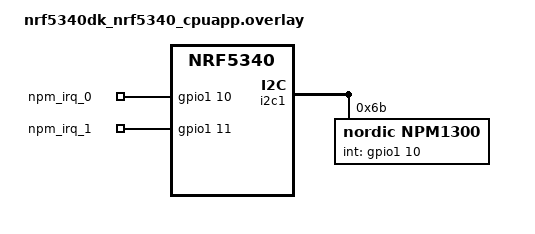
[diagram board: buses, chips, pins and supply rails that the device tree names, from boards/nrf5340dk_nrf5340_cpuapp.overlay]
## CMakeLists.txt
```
# SPDX-License-Identifier: Apache-2.0

cmake_minimum_required(VERSION 3.20.0)
find_package(Zephyr REQUIRED HINTS $ENV{ZEPHYR_BASE})
project(npm1300)

FILE(GLOB app_sources src/*.c)
target_sources(app PRIVATE ${app_sources})
```

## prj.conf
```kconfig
CONFIG_STDOUT_CONSOLE=y
CONFIG_PRINTK=y

CONFIG_I2C=y
CONFIG_GPIO=y 
CONFIG_NPMX_ENABLE=y
CONFIG_NPMX_DEVICE_NPM1300_FP1=y
CONFIG_LOG=y
CONFIG_NPMX_LOG_LEVEL_DBG=y
CONFIG_SHELL=y
CONFIG_ASSERT=y
```

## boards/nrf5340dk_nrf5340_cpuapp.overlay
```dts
/{
    /* Node with pin configuration for default state */
    buttons {
        compatible = "gpio-keys";
        npm_irq0: npm_irq_0 {
            gpios = <&gpio1 10 (GPIO_PULL_DOWN | GPIO_ACTIVE_HIGH)>;
            label = "npm_irq_0";
        };

        npm_irq1: npm_irq_1 {
            gpios = <&gpio1 11 (GPIO_PULL_DOWN | GPIO_ACTIVE_HIGH)>;
            label = "npm_irq_1";
        };
    };
};

&i2c1 {
    compatible = "nordic,nrf-twim";
    status = "okay";
    npmx: npm1300@6b {
        status = "okay";
		compatible = "nordic,npm1300";
		label = "npm1300";
		reg = <0x6b>;
		int-gpios = <&gpio1 10 (GPIO_PULL_DOWN | GPIO_ACTIVE_HIGH)>;
	};
};
```

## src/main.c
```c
/*
 * Copyright (c) 2022 Nordic Semiconductor ASA
 *
 * SPDX-License-Identifier: Apache-2.0
 */

#include <errno.h>
#include <device.h>
#include <sys/printk.h>
#include <zephyr.h>
#include <npmx_driver.h>
#include <npmx_gpio.h>

/**
 * @brief Temporary tests: Function callback for vbusin events
 * 
 * @param[in] pm   The instance of nPM device
 * @param[in] type The type of callback, should be always NPMX_CALLBACK_TYPE_EVENT_VBUSIN_VOLTAGE
 * @param[in] arg  Received event mask @ref npmx_event_group_vbusin_mask_t 
 */
static void vbusin_callback(npmx_instance_t *pm, npmx_callback_type_t type, uint32_t arg)
{
	printk("vbusin %d\n", arg);
}

void main(void)
{
	const struct device *npmx_dev = DEVICE_DT_GET(DT_NODELABEL(npmx));

	if (!device_is_ready(npmx_dev)) {
		printk("NPMX device is not ready.\n");
		return;
	} else {
		printk("NPMX device ok.\n");
	}

	/* Temporary tests: get pointer to npmx device */
	npmx_instance_t *npmx_instance = &((struct npmx_data *)npmx_dev->data)->npmx_instance;

	/* Temporary tests: register callback for vbus events */
	npmx_driver_register_cb(vbusin_callback, NPMX_CALLBACK_TYPE_EVENT_VBUSIN_VOLTAGE);

	/* Temporary tests: use GPIO 0 as interrupt output */
	npmx_gpio_mode_set(npmx_instance, NPMX_GPIO_INSTANCE_0, NPMX_GPIO_MODE_OUTPUT_IRQ);

	/* Temporary tests: enable interrupt from vbusin events */
	npmx_driver_event_interrupt_enable(NPMX_EVENT_GROUP_VBUSIN_VOLTAGE,
					   NPMX_EVENT_GROUP_VBUSIN_DETECTED_MASK |
						   NPMX_EVENT_GROUP_VBUSIN_REMOVED_MASK);

	while (1) {
		k_sleep(K_FOREVER);
	}
}
```
